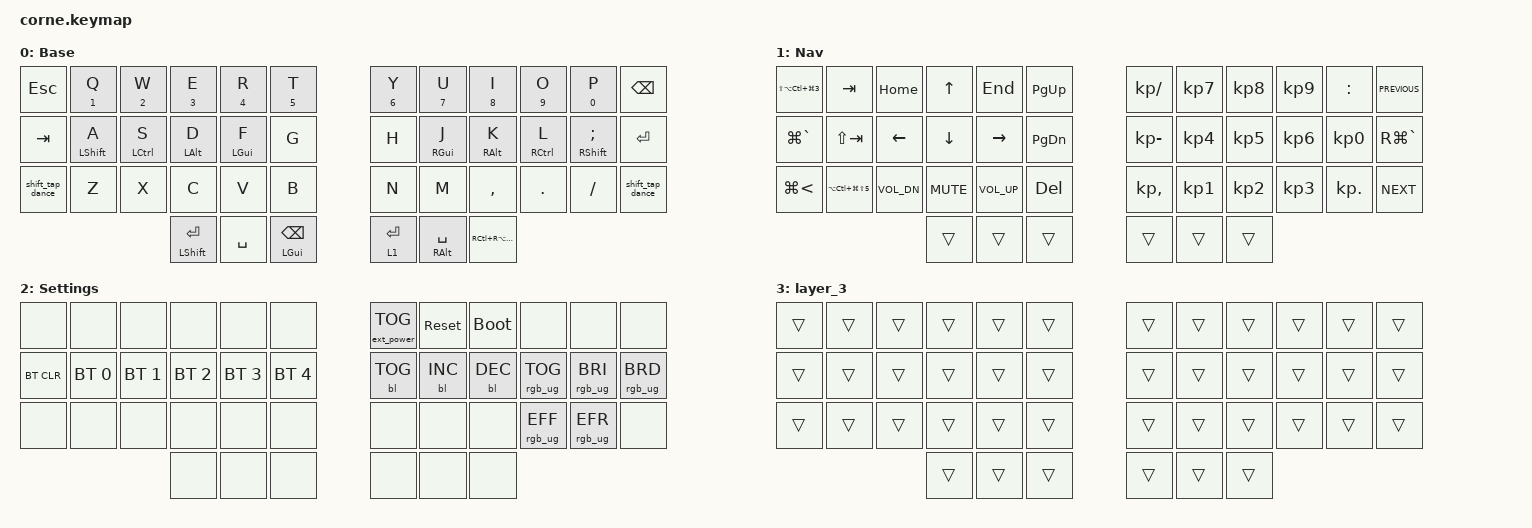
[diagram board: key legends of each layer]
/*
 * Copyright (c) 2020 The ZMK Contributors
 *
 * SPDX-License-Identifier: MIT
 */

#include <behaviors.dtsi>
#include <dt-bindings/zmk/backlight.h>
#include <dt-bindings/zmk/bt.h>
#include <dt-bindings/zmk/ext_power.h>
#include <dt-bindings/zmk/keys.h>
#include <dt-bindings/zmk/rgb.h>

/ {
    combos {
        compatible = "zmk,combos";

        Layer3 {
            bindings = <&mo 3>;
            key-positions = <39 38>;
        };

        Meh {
            bindings = <&kt LS(LA(LEFT_GUI))>;
            key-positions = <37 38>;
        };
    };

    behaviors {
        hml: homewrow_mods_left {
            compatible = "zmk,behavior-hold-tap";
            label = "HOMEROW_MODS_LEFT_HAND";
            bindings = <&kp>, <&kp>;

            #binding-cells = <2>;
            tapping-term-ms = <200>;
            flavor = "balanced";
            hold-trigger-key-positions = <21 39 40 41 30 31 32 6 7 8 9 10 18 19 20 21 22 30 31 32 33 34 11 23 35>;
        };

        hmr: homewrow_mods_right {
            compatible = "zmk,behavior-hold-tap";
            label = "HOMEROW_MODS_RIGHT_HAND";
            bindings = <&kp>, <&kp>;

            #binding-cells = <2>;
            flavor = "balanced";
            hold-trigger-key-positions = <0 1 2 3 4 5 12 13 14 15 16 17 24 25 26 27 28 29 36 37 38>;
            tapping-term-ms = <200>;
        };

        shift_tap_dance: shift_tap_dance {
            compatible = "zmk,behavior-tap-dance";
            label = "SHIFT_TAP_DANCE";
            #binding-cells = <0>;
            bindings = <&mt LEFT_SHIFT CAPSLOCK>, <&caps_word>;
        };
    };

    keymap {
        compatible = "zmk,keymap";

        Base {
            bindings = <
&kp ESCAPE        &mt NUMBER_1 Q     &mt NUMBER_2 W       &mt NUMBER_3 E      &mt NUMBER_4 R   &mt N5 T                  &mt NUMBER_6 Y  &mt N7 U             &mt N8 I                   &mt N9 O              &mt N0 P               &kp BSPC
&kp TAB           &hml LEFT_SHIFT A  &hml LEFT_CONTROL S  &hml LEFT_ALT D     &hml LEFT_GUI F  &kp G                     &kp H           &hmr RIGHT_GUI J     &hmr RIGHT_ALT K           &hmr RIGHT_CONTROL L  &hmr RIGHT_SHIFT SEMI  &kp ENTER
&shift_tap_dance  &kp Z              &kp X                &kp C               &kp V            &kp B                     &kp N           &kp M                &kp COMMA                  &kp DOT               &kp FSLH               &shift_tap_dance
                                                          &mt LEFT_SHIFT RET  &kp SPACE        &mt LEFT_GUI BACKSPACE    &lt 1 ENTER     &mt RIGHT_ALT SPACE  &kp RC(RA(RS(RIGHT_GUI)))
            >;
        };

        Nav {
            bindings = <
&kp LS(LA(LC(LG(NUMBER_3))))  &kp TAB                 &kp HOME      &kp UP_ARROW  &kp END       &kp PAGE_UP      &kp KP_SLASH  &kp KP_NUMBER_7  &kp KP_NUMBER_8  &kp KP_NUMBER_9  &kp COLON        &kp C_PREVIOUS
&kp LG(GRAVE)                 &kp LS(TAB)             &kp LEFT      &kp DOWN      &kp RIGHT     &kp PAGE_DOWN    &kp KP_MINUS  &kp KP_NUMBER_4  &kp KP_NUMBER_5  &kp KP_NUMBER_6  &kp KP_NUMBER_0  &kp RG(GRAVE)
&kp LG(LESS_THAN)             &kp LA(LC(LG(LS(N5))))  &kp C_VOL_DN  &kp C_MUTE    &kp C_VOL_UP  &kp DEL          &kp KP_COMMA  &kp KP_NUMBER_1  &kp KP_NUMBER_2  &kp KP_NUMBER_3  &kp KP_DOT       &kp C_NEXT
                                                                    &trans        &trans        &trans           &trans        &trans           &trans
            >;
        };

        /*Sym {
            bindings = <
&kp LG(AT_SIGN)  &kp CARET       &kp LESS_THAN         &kp GREATER_THAN       &kp DLLR         &kp PRCNT    &kp AT_SIGN    &kp AMPS         &kp ASTRK      &kp SQT    &kp GRAVE          &trans
&trans           &kp LEFT_BRACE  &kp LEFT_PARENTHESIS  &kp RIGHT_PARENTHESIS  &kp RIGHT_BRACE  &kp EQUAL    &kp BACKSLASH  &kp KP_PLUS      &kp MINUS      &kp SLASH  &kp DOUBLE_QUOTES  &trans
&trans           &kp TILDE       &kp LEFT_BRACKET      &kp RIGHT_BRACKET      &kp UNDERSCORE   &kp HASH     &kp PIPE       &kp EXCLAMATION  &kp SEMICOLON  &kp COLON  &kp KP_DOT         &trans
                                                       &trans                 &trans           &trans       &trans         &trans           &trans
            >;
        };*/

        Settings {
            bindings = <
&none       &none         &none         &none         &none         &none           &ext_power EP_TOG  &sys_reset  &bootloader  &none            &none            &none
&bt BT_CLR  &bt BT_SEL 0  &bt BT_SEL 1  &bt BT_SEL 2  &bt BT_SEL 3  &bt BT_SEL 4    &bl BL_TOG         &bl BL_INC  &bl BL_DEC   &rgb_ug RGB_TOG  &rgb_ug RGB_BRI  &rgb_ug RGB_BRD
&none       &none         &none         &none         &none         &none           &none              &none       &none        &rgb_ug RGB_EFF  &rgb_ug RGB_EFR  &none
                                        &none         &none         &none           &none              &none       &none
            >;
        };

        layer_3 {
            bindings = <
&trans  &trans  &trans  &trans  &trans  &trans    &trans  &trans  &trans  &trans  &trans  &trans
&trans  &trans  &trans  &trans  &trans  &trans    &trans  &trans  &trans  &trans  &trans  &trans
&trans  &trans  &trans  &trans  &trans  &trans    &trans  &trans  &trans  &trans  &trans  &trans
                        &trans  &trans  &trans    &trans  &trans  &trans
            >;
        };
    };
};
